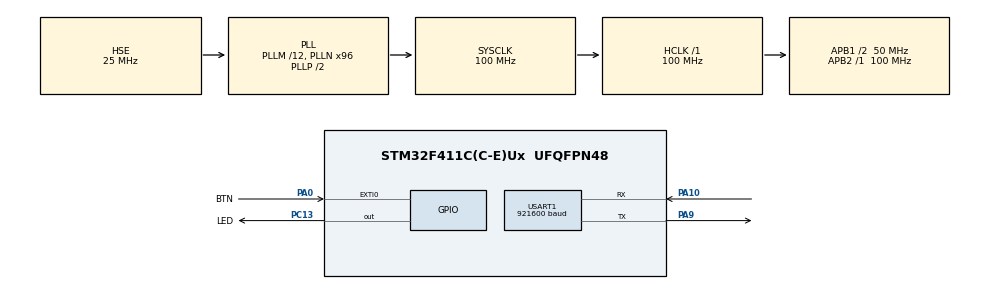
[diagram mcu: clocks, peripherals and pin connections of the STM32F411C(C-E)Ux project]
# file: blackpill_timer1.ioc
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Mcu.Family=STM32F4
Mcu.Name=STM32F411C(C-E)Ux
Mcu.Package=UFQFPN48
NVIC.EXTI0_IRQn=true\:0\:0\:false\:false\:true\:true\:true\:true
NVIC.PriorityGroup=NVIC_PRIORITYGROUP_4
NVIC.TIM4_IRQn=true\:0\:0\:false\:false\:true\:true\:true\:true
PA0-WKUP.GPIO_Label=BTN
PA0-WKUP.GPIO_ModeDefaultEXTI=GPIO_MODE_IT_RISING
PA0-WKUP.GPIO_PuPd=GPIO_PULLUP
PA0-WKUP.Signal=GPXTI0
PA10.Mode=Asynchronous
PA10.Signal=USART1_RX
PA13.Mode=Serial_Wire
PA13.Signal=SYS_JTMS-SWDIO
PA14.Mode=Serial_Wire
PA14.Signal=SYS_JTCK-SWCLK
PA9.Mode=Asynchronous
PA9.Signal=USART1_TX
PC13-ANTI_TAMP.GPIO_Label=LED
PC13-ANTI_TAMP.GPIO_ModeDefaultOutputPP=GPIO_MODE_OUTPUT_OD
PC13-ANTI_TAMP.GPIO_PuPd=GPIO_NOPULL
PC13-ANTI_TAMP.PinState=GPIO_PIN_SET
PC13-ANTI_TAMP.Signal=GPIO_Output
PH0\ -\ OSC_IN.Mode=HSE-External-Oscillator
PH0\ -\ OSC_IN.Signal=RCC_OSC_IN
PH1\ -\ OSC_OUT.Mode=HSE-External-Oscillator
PH1\ -\ OSC_OUT.Signal=RCC_OSC_OUT
ProjectManager.HeapSize=0x200
ProjectManager.StackSize=0x400
ProjectManager.TargetToolchain=STM32CubeIDE
RCC.48MHZClocksFreq_Value=50000000
RCC.AHBFreq_Value=100000000
RCC.APB1CLKDivider=RCC_HCLK_DIV2
RCC.APB1Freq_Value=50000000
RCC.APB1TimFreq_Value=100000000
RCC.APB2Freq_Value=100000000
RCC.APB2TimFreq_Value=100000000
RCC.CortexFreq_Value=100000000
RCC.HCLKFreq_Value=100000000
RCC.HSE_VALUE=25000000
RCC.HSI_VALUE=16000000
RCC.LSE_VALUE=32768
RCC.PLLM=12
RCC.PLLN=96
RCC.PLLSourceVirtual=RCC_PLLSOURCE_HSE
RCC.SYSCLKFreq_VALUE=100000000
RCC.SYSCLKSource=RCC_SYSCLKSOURCE_PLLCLK
RCC.VCOOutputFreq_Value=200000000
TIM4.Period=4999
TIM4.Prescaler=9999
USART1.BaudRate=921600
USART1.VirtualMode=VM_ASYNC
VP_TIM4_VS_ClockSourceINT.Mode=Internal
board=custom

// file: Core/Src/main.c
/* USER CODE BEGIN Header */
/**
  ******************************************************************************
  * @file           : main.c
  * @brief          : Main program body
  ******************************************************************************
  * @attention
  *
  * Copyright (c) 2025 STMicroelectronics.
  * All rights reserved.
  *
  * This software is licensed under terms that can be found in the LICENSE file
  * in the root directory of this software component.
  * If no LICENSE file comes with this software, it is provided AS-IS.
  *
  ******************************************************************************
  */
/* USER CODE END Header */
#include "main.h"

/* USER CODE BEGIN Includes */
#include <stdio.h>
/* USER CODE END Includes */

TIM_HandleTypeDef htim4;

UART_HandleTypeDef huart1;

/* USER CODE BEGIN PV */
uint8_t btn_press = 0;

uint16_t blink_delays[] = {
		500,
		250,
		100
};

uint8_t blink_delay = 0;

/* USER CODE END PV */

void SystemClock_Config(void);
static void MX_GPIO_Init(void);
static void MX_USART1_UART_Init(void);
static void MX_TIM4_Init(void);

/* USER CODE BEGIN 0 */

// Send printf to uart1

int _write(int fd, char* ptr, int len) {
  HAL_StatusTypeDef hstatus;

  if (fd == 1 || fd == 2) {
    hstatus = HAL_UART_Transmit(&huart1, (uint8_t *) ptr, len, HAL_MAX_DELAY);
    if (hstatus == HAL_OK)
      return len;
    else
      return -1;
  }
  return -1;
}

void HAL_TIM_PeriodElabsedCallback(TIM_HandleTypeDef *htim) {
	HAL_GPIO_TogglePin(LED_GPIO_Port, LED_Pin);
}

void HAL_GPIO_EXTI_Callback(uint16_t GPIO_Pin){
  if (GPIO_Pin == BTN_Pin){
	  btn_press = 1;
  }
}

/* USER CODE END 0 */

int main(void)
{

  /* MCU Configuration--------------------------------------------------------*/

  /* Reset of all peripherals, Initializes the Flash interface and the Systick. */
  HAL_Init();

  /* Configure the system clock */
  SystemClock_Config();

  /* Initialize all configured peripherals */
  MX_GPIO_Init();
  MX_USART1_UART_Init();
  MX_TIM4_Init();
  /* USER CODE BEGIN 2 */

  printf("Starting blackpill timer\n");

  HAL_TIM_Base_Start(&htim4);

  /* USER CODE END 2 */

  /* Infinite loop */
  /* USER CODE BEGIN WHILE */

  uint32_t now = 0, next_blink = 500, next_tick = 1000,loop_cnt = 0;

  while (1)
  {

	  now = HAL_GetTick();

	  if (now >= next_blink) {

		  //printf("Toggling GPIO\n");

		  HAL_GPIO_TogglePin(LED_GPIO_Port, LED_Pin);

		  next_blink = now + blink_delays[blink_delay];
	  }

	  if (now >= next_tick) {
		  printf("Tick %lu (loop count = %lu)\n", now / 1000, loop_cnt);

		  loop_cnt = 0;

		  next_tick = now + 1000;
	  }

	  if (btn_press) {
		  printf("Button pressed\n");

		  ++blink_delay;
		  if (blink_delay >= sizeof(blink_delays) / sizeof(blink_delays[0])) blink_delay = 0;

		  btn_press = 0;
	  }

	  ++loop_cnt;
    /* USER CODE END WHILE */

  }
}

void SystemClock_Config(void)
{
  RCC_OscInitTypeDef RCC_OscInitStruct = {0};
  RCC_ClkInitTypeDef RCC_ClkInitStruct = {0};

  /** Configure the main internal regulator output voltage
  */
  __HAL_RCC_PWR_CLK_ENABLE();
  __HAL_PWR_VOLTAGESCALING_CONFIG(PWR_REGULATOR_VOLTAGE_SCALE1);

  /** Initializes the RCC Oscillators according to the specified parameters
  * in the RCC_OscInitTypeDef structure.
  */
  RCC_OscInitStruct.OscillatorType = RCC_OSCILLATORTYPE_HSE;
  RCC_OscInitStruct.HSEState = RCC_HSE_ON;
  RCC_OscInitStruct.PLL.PLLState = RCC_PLL_ON;
  RCC_OscInitStruct.PLL.PLLSource = RCC_PLLSOURCE_HSE;
  RCC_OscInitStruct.PLL.PLLM = 12;
  RCC_OscInitStruct.PLL.PLLN = 96;
  RCC_OscInitStruct.PLL.PLLP = RCC_PLLP_DIV2;
  RCC_OscInitStruct.PLL.PLLQ = 4;
  if (HAL_RCC_OscConfig(&RCC_OscInitStruct) != HAL_OK)
  {
    Error_Handler();
  }

  /** Initializes the CPU, AHB and APB buses clocks
  */
  RCC_ClkInitStruct.ClockType = RCC_CLOCKTYPE_HCLK|RCC_CLOCKTYPE_SYSCLK
                              |RCC_CLOCKTYPE_PCLK1|RCC_CLOCKTYPE_PCLK2;
  RCC_ClkInitStruct.SYSCLKSource = RCC_SYSCLKSOURCE_PLLCLK;
  RCC_ClkInitStruct.AHBCLKDivider = RCC_SYSCLK_DIV1;
  RCC_ClkInitStruct.APB1CLKDivider = RCC_HCLK_DIV2;
  RCC_ClkInitStruct.APB2CLKDivider = RCC_HCLK_DIV1;

  if (HAL_RCC_ClockConfig(&RCC_ClkInitStruct, FLASH_LATENCY_3) != HAL_OK)
  {
    Error_Handler();
  }
}

static void MX_TIM4_Init(void)
{

  TIM_ClockConfigTypeDef sClockSourceConfig = {0};
  TIM_MasterConfigTypeDef sMasterConfig = {0};

  htim4.Instance = TIM4;
  htim4.Init.Prescaler = 9999;
  htim4.Init.CounterMode = TIM_COUNTERMODE_UP;
  htim4.Init.Period = 4999;
  htim4.Init.ClockDivision = TIM_CLOCKDIVISION_DIV1;
  htim4.Init.AutoReloadPreload = TIM_AUTORELOAD_PRELOAD_DISABLE;
  if (HAL_TIM_Base_Init(&htim4) != HAL_OK)
  {
    Error_Handler();
  }
  sClockSourceConfig.ClockSource = TIM_CLOCKSOURCE_INTERNAL;
  if (HAL_TIM_ConfigClockSource(&htim4, &sClockSourceConfig) != HAL_OK)
  {
    Error_Handler();
  }
  sMasterConfig.MasterOutputTrigger = TIM_TRGO_RESET;
  sMasterConfig.MasterSlaveMode = TIM_MASTERSLAVEMODE_DISABLE;
  if (HAL_TIMEx_MasterConfigSynchronization(&htim4, &sMasterConfig) != HAL_OK)
  {
    Error_Handler();
  }

}

static void MX_USART1_UART_Init(void)
{

  huart1.Instance = USART1;
  huart1.Init.BaudRate = 921600;
  huart1.Init.WordLength = UART_WORDLENGTH_8B;
  huart1.Init.StopBits = UART_STOPBITS_1;
  huart1.Init.Parity = UART_PARITY_NONE;
  huart1.Init.Mode = UART_MODE_TX_RX;
  huart1.Init.HwFlowCtl = UART_HWCONTROL_NONE;
  huart1.Init.OverSampling = UART_OVERSAMPLING_16;
  if (HAL_UART_Init(&huart1) != HAL_OK)
  {
    Error_Handler();
  }

}

static void MX_GPIO_Init(void)
{
  GPIO_InitTypeDef GPIO_InitStruct = {0};

  /* GPIO Ports Clock Enable */
  __HAL_RCC_GPIOC_CLK_ENABLE();
  __HAL_RCC_GPIOH_CLK_ENABLE();
  __HAL_RCC_GPIOA_CLK_ENABLE();

  /*Configure GPIO pin Output Level */
  HAL_GPIO_WritePin(LED_GPIO_Port, LED_Pin, GPIO_PIN_SET);

  /*Configure GPIO pin : LED_Pin */
  GPIO_InitStruct.Pin = LED_Pin;
  GPIO_InitStruct.Mode = GPIO_MODE_OUTPUT_OD;
  GPIO_InitStruct.Pull = GPIO_NOPULL;
  GPIO_InitStruct.Speed = GPIO_SPEED_FREQ_LOW;
  HAL_GPIO_Init(LED_GPIO_Port, &GPIO_InitStruct);

  /*Configure GPIO pin : BTN_Pin */
  GPIO_InitStruct.Pin = BTN_Pin;
  GPIO_InitStruct.Mode = GPIO_MODE_IT_RISING;
  GPIO_InitStruct.Pull = GPIO_PULLUP;
  HAL_GPIO_Init(BTN_GPIO_Port, &GPIO_InitStruct);

  /* EXTI interrupt init*/
  HAL_NVIC_SetPriority(EXTI0_IRQn, 0, 0);
  HAL_NVIC_EnableIRQ(EXTI0_IRQn);

}

void Error_Handler(void)
{
  __disable_irq();
  while (1)
  {
  }
}
